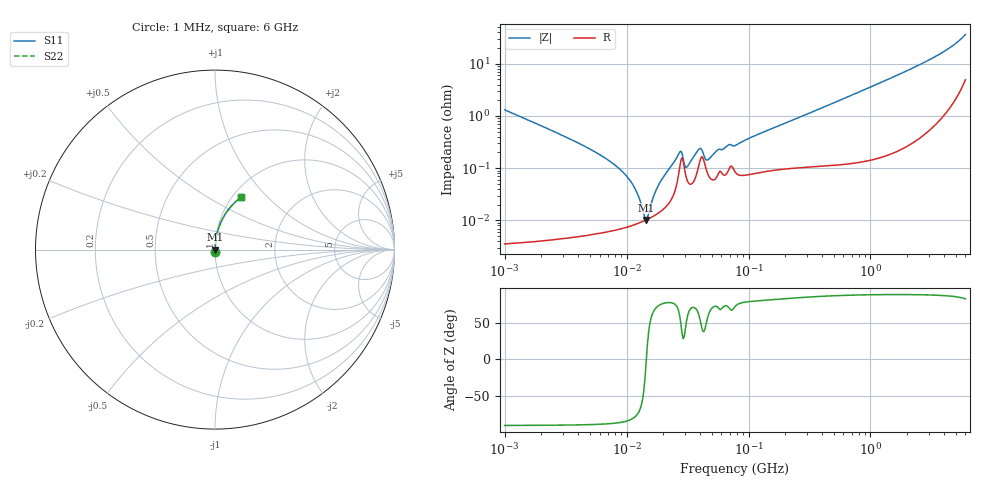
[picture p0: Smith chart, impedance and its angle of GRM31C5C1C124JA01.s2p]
!Murata Part Number: GRM31C5C1C124JA01
!These Parameters are Measured in Series Mode Connection
!Data Generated on Mar 30, 2021
!  o--ll--o
!Port1  Port2
!  o------o
!Operation Temp=25[degC], DC Bias Voltage=0[V]
!Freq. Start=1000[kHz] Stop=6[GHz] 401[Steps]
# Hz S RI R 50
!Freq.(Hz) S11(Real) S11(Imag) S21(Real) S21(Imag) S12(Real) S12(Imag) S22(Real) S22(Imag)
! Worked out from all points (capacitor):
!   401 points, 1 MHz to 6 GHz, reference 50 ohm
!   read as one part in series: C = 121 nF near 1.044 MHz
!   lowest |Z| = 10.2 mohm at 14.51 MHz (marker M1)
!   series resonance near 14.53 MHz, so ESL is about 990 pH
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1000000  0.000208 -0.0131  0.9998 0.0131  0.9998 0.0131  0.000208 -0.0131
4293785  5.78e-05 -0.0028  0.9999 0.0028  0.9999 0.0028  5.78e-05 -0.0028
7080828  6.27e-05 -0.00143  0.9999 0.00143  0.9999 0.00143  6.27e-05 -0.00143
9812162  7.35e-05 -0.000739  0.9999 0.000739  0.9999 0.000739  7.35e-05 -0.000739
1.193364e7  8.48e-05 -0.000367  0.9999 0.000367  0.9999 0.000367  8.48e-05 -0.000367
1.389603e7  9.78e-05 -8.3e-05  0.9999 8.3e-05  0.9999 8.3e-05  9.78e-05 -8.3e-05
1.451381e7  0.000102 -1.5e-06  0.9999 1.5e-06  0.9999 1.5e-06  0.000102 -1.5e-06
1.515906e7  0.000108 8.08e-05  0.9999 -8.08e-05  0.9999 -8.08e-05  0.000108 8.08e-05
1.690048e7  0.000124 0.000292  0.9999 -0.000292  0.9999 -0.000292  0.000124 0.000292
1.843659e7  0.000141 0.000471  0.9999 -0.000471  0.9999 -0.000471  0.000141 0.000471
2.727078e7  0.00104 0.00174  0.999 -0.00174  0.999 -0.00174  0.00104 0.00174
2.848316e7  0.00158 0.00113  0.9984 -0.00113  0.9984 -0.00113  0.00158 0.00113
3.107204e7  0.00063 0.000823  0.9994 -0.000823  0.9994 -0.000823  0.00063 0.000823
3.947016e7  0.00123 0.00199  0.9988 -0.00199  0.9988 -0.00199  0.00123 0.00199
4.596069e7  0.000814 0.00117  0.9992 -0.00117  0.9992 -0.00117  0.000814 0.00117
5.589783e7  0.000739 0.00212  0.9993 -0.00212  0.9993 -0.00212  0.000739 0.00212
6.947823e7  0.000987 0.00265  0.999 -0.00265  0.999 -0.00265  0.000987 0.00265
7.745967e7  0.000859 0.00256  0.9991 -0.00256  0.9991 -0.00256  0.000859 0.00256
3.325952e8  0.0012 0.0119  0.9988 -0.0119  0.9988 -0.0119  0.0012 0.0119
1.428092e9  0.00446 0.0513  0.9955 -0.0513  0.9955 -0.0513  0.00446 0.0513
3.883682e9  0.0347 0.1565  0.9653 -0.1565  0.9653 -0.1565  0.0347 0.1565
6e9  0.1472 0.2925  0.8528 -0.2925  0.8528 -0.2925  0.1472 0.2925
